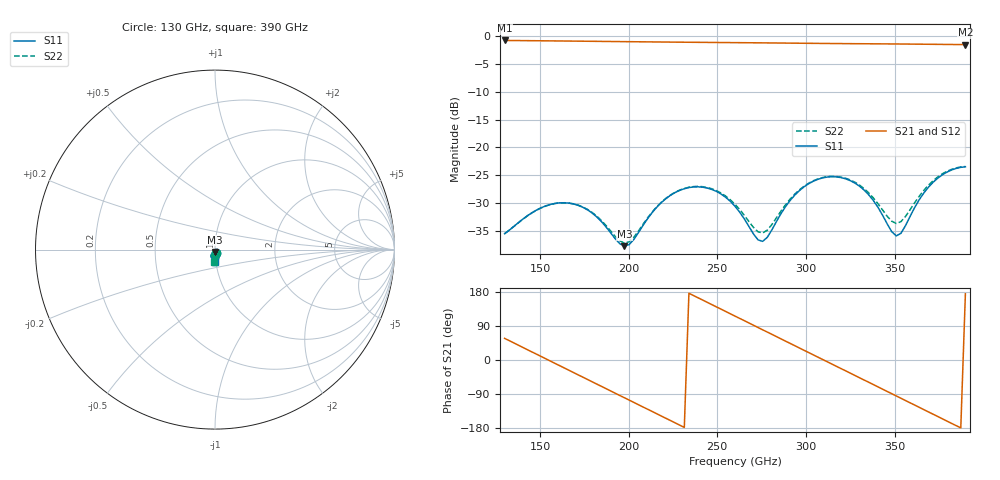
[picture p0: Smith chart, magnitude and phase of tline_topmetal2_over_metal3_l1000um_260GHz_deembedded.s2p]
! Created with skrf 2.2.0 (http://scikit-rf.org).
# GHz S DB R 50.0
! Port[1] = P1
! Port[2] = P2
!freq dBS11 angS11 dBS21 angS21 dBS12 angS12 dBS22 angS22
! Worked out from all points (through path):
!   101 points, 130 GHz to 390 GHz, reference 50 ohm
!   highest |S21| = -0.77 dB at 130 GHz (marker M1); lowest = -1.5 dB at 390 GHz (marker M2)
!   group delay of S21, straight-line fit = 6.43 ps
!   lowest |S11| = -37.8 dB at 197.6 GHz (marker M3), VSWR 1.03, Z = 49.9 - j1.28 ohm
!   |S11| at or under -10 dB: start of sweep to end of sweep
!   |S22| runs from -37.2 to -23.4 dB; largest |S21 - S12| = 1.6e-13
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130  -35.53 -77.1  -0.77 57.1  -0.77 57.1  -35.49 -77.7
143  -32.26 -75.5  -0.81 26.9  -0.81 26.9  -32.29 -75.5
153.4  -30.49 -85.8  -0.84 2.8  -0.84 2.8  -30.52 -85.3
163.8  -29.95 -99.7  -0.87 -21.3  -0.87 -21.3  -29.95 -98.7
174.2  -30.78 -113.4  -0.90 -45.4  -0.90 -45.4  -30.72 -111.9
187.2  -34.28 -121.3  -0.95 -75.5  -0.95 -75.5  -34.04 -119.1
197.6  -37.76 -95.5  -0.98 -99.6  -0.98 -99.6  -37.21 -95.1
208  -34.08 -64.4  -1.02 -123.7  -1.02 -123.7  -33.87 -65.5
218.4  -29.93 -67.9  -1.05 -147.8  -1.05 -147.8  -29.86 -68.0
228.8  -27.72 -82.1  -1.08 -171.8  -1.08 -171.8  -27.67 -81.4
239.2  -27.08 -98.8  -1.11 164.1  -1.11 164.1  -27.01 -97.3
260  -30.58 -126.7  -1.16 115.9  -1.16 115.9  -30.23 -122.8
275.6  -36.90 -91.6  -1.20 79.8  -1.20 79.8  -35.38 -92.7
288.6  -30.60 -60.7  -1.24 49.6  -1.24 49.6  -30.28 -64.8
304.2  -26.08 -78.5  -1.29 13.5  -1.29 13.5  -26.00 -79.9
314.6  -25.27 -95.6  -1.32 -10.5  -1.32 -10.5  -25.20 -95.7
325  -25.97 -112.5  -1.34 -34.6  -1.34 -34.6  -25.85 -111.1
338  -29.52 -127.3  -1.37 -64.7  -1.37 -64.7  -29.06 -123.1
348.4  -35.14 -110.4  -1.40 -88.8  -1.40 -88.8  -33.27 -106.6
353.6  -35.46 -78.5  -1.41 -100.9  -1.41 -100.9  -33.35 -83.8
371.8  -26.26 -62.4  -1.46 -143.1  -1.46 -143.1  -25.99 -69.1
390  -23.48 -90.7  -1.52 174.7  -1.52 174.7  -23.43 -95.4
